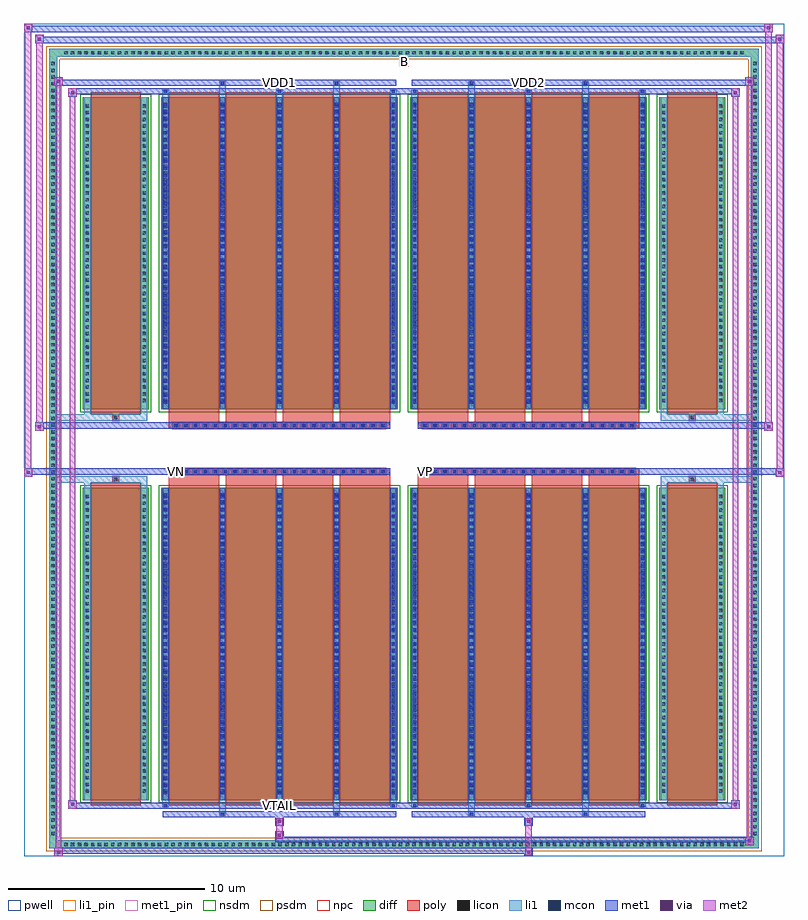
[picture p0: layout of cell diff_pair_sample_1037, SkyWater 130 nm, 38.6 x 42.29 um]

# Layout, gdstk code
import gdstk
lib = gdstk.Library(unit=1e-6, precision=5e-09)
def R(c, l, rs):  # rectangles x0, y0, x1, y1
    for r in rs: c.add(gdstk.rectangle(r[:2], r[2:], *l))
def A(c, l, x, y, w, h, nx, ny, dx, dy):  # array of equal rectangles
    R(c, l, [(x+i*dx, y+j*dy, x+i*dx+w, y+j*dy+h) for i in range(nx) for j in range(ny)])
def P(c, l, *ps):  # polygons
    for p in ps: c.add(gdstk.Polygon(p, *l))
pwell = (64, 44)
diff = (65, 20)
poly = (66, 20)
licon = (66, 44)
li1_pin = (67, 16)
li1 = (67, 20)
mcon = (67, 44)
met1_pin = (68, 16)
met1 = (68, 20)
via = (68, 44)
met2 = (69, 20)
nsdm = (93, 44)
psdm = (94, 20)
npc = (95, 20)

diff_pair_sample_1037 = lib.new_cell('diff_pair_sample_1037')
R(diff_pair_sample_1037, pwell, [(-19.3,-20.71,19.3,21.58), (-16.62,-18.9,-0.01,-0.8), (0.01,-18.9,16.62,-0.8), (-16.62,0.8,-0.01,18.9), (0.01,0.8,16.62,18.9)])
A(diff_pair_sample_1037, diff, -17.375, -20.31, 0.41, 0.41, 102, 2, 0.34, 40.21)
A(diff_pair_sample_1037, diff, -18.03, -19.755, 0.41, 0.41, 1, 116, 0, 0.34)
A(diff_pair_sample_1037, diff, 17.62, -19.755, 0.41, 0.41, 1, 116, 0, 0.34)
R(diff_pair_sample_1037, diff, [(-17.375,-20.31,17.375,-19.9), (-18.03,-19.755,-17.62,19.755), (17.62,-19.755,18.03,19.755), (-16.31,-17.855,-12.97,-1.985), (-12.33,-17.855,-0.32,-1.985), (0.32,-17.855,12.33,-1.985), (12.97,-17.855,16.31,-1.985), (-16.31,1.985,-12.97,17.855), (-12.33,1.985,-0.32,17.855), (0.32,1.985,12.33,17.855), (12.97,1.985,16.31,17.855), (-17.375,19.9,17.375,20.31)])
P(diff_pair_sample_1037, diff, [(18.03,20.31),(-18.03,20.31),(-18.03,-19.9),(-17.62,-19.9),(-17.62,19.9),(17.62,19.9),(17.62,-19.9),(-17.62,-19.9),(-18.03,-19.9),(-18.03,-20.31),(18.03,-20.31)])
A(diff_pair_sample_1037, poly, -11.94, -18.105, 2.56, 16.37, 4, 2, 2.89, 19.84)
A(diff_pair_sample_1037, poly, 0.71, -18.105, 2.56, 16.37, 4, 2, 2.89, 19.84)
A(diff_pair_sample_1037, poly, -11.94, -1.735, 2.56, 0.405, 4, 2, 2.89, 3.065)
A(diff_pair_sample_1037, poly, 0.71, -1.735, 2.56, 0.405, 4, 2, 2.89, 3.065)
A(diff_pair_sample_1037, poly, -11.74, -1.33, 0.33, 0.33, 22, 2, 0.5, 2.33)
A(diff_pair_sample_1037, poly, 0.91, -1.33, 0.33, 0.33, 22, 2, 0.5, 2.33)
R(diff_pair_sample_1037, poly, [(-15.92,-18.105,-13.36,-1.735), (13.36,-18.105,15.92,-1.735), (-14.805,-1.735,-14.475,-1.405), (-14.805,-1.735,-14.475,-1.405), (14.475,-1.735,14.805,-1.405), (14.475,-1.735,14.805,-1.405), (-11.94,-1.33,-0.71,-1), (0.71,-1.33,11.94,-1), (-11.94,1,-0.71,1.33), (0.71,1,11.94,1.33), (-14.805,1.405,-14.475,1.735), (-14.805,1.405,-14.475,1.735), (14.475,1.405,14.805,1.735), (14.475,1.405,14.805,1.735), (-15.92,1.735,-13.36,18.105), (13.36,1.735,15.92,18.105)])
A(diff_pair_sample_1037, licon, -17.255, -20.19, 0.17, 0.17, 102, 2, 0.34, 40.21)
A(diff_pair_sample_1037, licon, -17.91, -19.635, 0.17, 0.17, 1, 116, 0, 0.34)
A(diff_pair_sample_1037, licon, 17.74, -19.635, 0.17, 0.17, 1, 116, 0, 0.34)
A(diff_pair_sample_1037, licon, -16.17, -17.485, 0.17, 0.17, 1, 45, 0, 0.34)
A(diff_pair_sample_1037, licon, -13.28, -17.485, 0.17, 0.17, 1, 45, 0, 0.34)
A(diff_pair_sample_1037, licon, -12.19, -17.485, 0.17, 0.17, 5, 45, 2.89, 0.34)
A(diff_pair_sample_1037, licon, 0.46, -17.485, 0.17, 0.17, 5, 45, 2.89, 0.34)
A(diff_pair_sample_1037, licon, 13.11, -17.485, 0.17, 0.17, 1, 45, 0, 0.34)
A(diff_pair_sample_1037, licon, 16, -17.485, 0.17, 0.17, 1, 45, 0, 0.34)
A(diff_pair_sample_1037, licon, -11.66, -1.25, 0.17, 0.17, 22, 2, 0.5, 2.33)
A(diff_pair_sample_1037, licon, 0.99, -1.25, 0.17, 0.17, 22, 2, 0.5, 2.33)
A(diff_pair_sample_1037, licon, -16.17, 2.355, 0.17, 0.17, 1, 45, 0, 0.34)
A(diff_pair_sample_1037, licon, -13.28, 2.355, 0.17, 0.17, 1, 45, 0, 0.34)
A(diff_pair_sample_1037, licon, -12.19, 2.355, 0.17, 0.17, 5, 45, 2.89, 0.34)
A(diff_pair_sample_1037, licon, 0.46, 2.355, 0.17, 0.17, 5, 45, 2.89, 0.34)
A(diff_pair_sample_1037, licon, 13.11, 2.355, 0.17, 0.17, 1, 45, 0, 0.34)
A(diff_pair_sample_1037, licon, 16, 2.355, 0.17, 0.17, 1, 45, 0, 0.34)
R(diff_pair_sample_1037, licon, [(-14.725,-1.655,-14.555,-1.485), (14.555,-1.655,14.725,-1.485), (-14.725,1.485,-14.555,1.655), (14.555,1.485,14.725,1.655)])
R(diff_pair_sample_1037, li1_pin, [(-0.25,19.4,0.25,19.9)])
A(diff_pair_sample_1037, li1, -17.335, -20.27, 0.33, 0.33, 102, 2, 0.34, 40.21)
A(diff_pair_sample_1037, li1, -17.99, -19.715, 0.33, 0.33, 1, 116, 0, 0.34)
A(diff_pair_sample_1037, li1, 17.66, -19.715, 0.33, 0.33, 1, 116, 0, 0.34)
A(diff_pair_sample_1037, li1, -12.27, -18.23, 0.33, 0.375, 3, 2, 5.78, 36.085)
A(diff_pair_sample_1037, li1, -12.19, -18.23, 0.17, 0.17, 3, 2, 5.78, 36.29)
A(diff_pair_sample_1037, li1, 0.38, -18.23, 0.33, 0.375, 3, 2, 5.78, 36.085)
A(diff_pair_sample_1037, li1, 0.46, -18.23, 0.17, 0.17, 3, 2, 5.78, 36.29)
A(diff_pair_sample_1037, li1, -12.27, -17.855, 0.33, 15.87, 5, 2, 2.89, 19.84)
A(diff_pair_sample_1037, li1, 0.38, -17.855, 0.33, 15.87, 5, 2, 2.89, 19.84)
A(diff_pair_sample_1037, li1, -16.25, -17.565, 0.33, 0.33, 1, 45, 0, 0.34)
A(diff_pair_sample_1037, li1, -13.36, -17.565, 0.33, 0.33, 1, 45, 0, 0.34)
A(diff_pair_sample_1037, li1, -12.27, -17.565, 0.33, 0.33, 5, 45, 2.89, 0.34)
A(diff_pair_sample_1037, li1, -12.19, -17.565, 0.17, 0.17, 5, 43, 2.89, 0.36)
A(diff_pair_sample_1037, li1, -12.19, -17.565, 0.17, 15.29, 5, 2, 2.89, 19.84)
A(diff_pair_sample_1037, li1, 0.38, -17.565, 0.33, 0.33, 5, 45, 2.89, 0.34)
A(diff_pair_sample_1037, li1, 0.46, -17.565, 0.17, 0.17, 5, 43, 2.89, 0.36)
A(diff_pair_sample_1037, li1, 0.46, -17.565, 0.17, 15.29, 5, 2, 2.89, 19.84)
A(diff_pair_sample_1037, li1, 13.03, -17.565, 0.33, 0.33, 1, 45, 0, 0.34)
A(diff_pair_sample_1037, li1, 15.92, -17.565, 0.33, 0.33, 1, 45, 0, 0.34)
A(diff_pair_sample_1037, li1, -11.74, -1.33, 0.33, 0.33, 22, 2, 0.5, 2.33)
A(diff_pair_sample_1037, li1, 0.91, -1.33, 0.33, 0.33, 22, 2, 0.5, 2.33)
A(diff_pair_sample_1037, li1, -16.25, 2.275, 0.33, 0.33, 1, 45, 0, 0.34)
A(diff_pair_sample_1037, li1, -13.36, 2.275, 0.33, 0.33, 1, 45, 0, 0.34)
A(diff_pair_sample_1037, li1, -12.27, 2.275, 0.33, 0.33, 5, 45, 2.89, 0.34)
A(diff_pair_sample_1037, li1, -12.19, 2.275, 0.17, 0.17, 5, 43, 2.89, 0.36)
A(diff_pair_sample_1037, li1, 0.38, 2.275, 0.33, 0.33, 5, 45, 2.89, 0.34)
A(diff_pair_sample_1037, li1, 0.46, 2.275, 0.17, 0.17, 5, 43, 2.89, 0.36)
A(diff_pair_sample_1037, li1, 13.03, 2.275, 0.33, 0.33, 1, 45, 0, 0.34)
A(diff_pair_sample_1037, li1, 15.92, 2.275, 0.33, 0.33, 1, 45, 0, 0.34)
R(diff_pair_sample_1037, li1, [(-18.03,-20.31,-17.62,-19.9), (-18.03,-20.31,-17.62,-19.9), (-17.62,-20.31,17.62,-19.9), (17.62,-20.31,18.03,-19.9), (17.62,-20.31,18.03,-19.9), (-18.03,-19.9,-17.62,19.9), (17.62,-19.9,18.03,19.9), (-9.38,-18.66,-9.05,-17.855), (-9.3,-18.66,-9.13,-18.49), (-3.6,-18.66,-3.27,-17.855), (-3.52,-18.66,-3.35,-18.49), (3.27,-18.66,3.6,-17.855), (3.35,-18.66,3.52,-18.49), (9.05,-18.66,9.38,-17.855), (9.13,-18.66,9.3,-18.49), (-16.25,-17.855,-15.92,-1.985), (-13.36,-17.855,-13.03,-1.985), (13.03,-17.855,13.36,-1.985), (15.92,-17.855,16.25,-1.985), (-16.25,-1.985,-15.92,-1.405), (-13.36,-1.985,-13.03,-1.405), (13.03,-1.985,13.36,-1.405), (15.92,-1.985,16.25,-1.405), (-18.03,-1.735,-14.805,-1.405), (-16.25,-1.735,-14.805,-1.405), (-14.805,-1.735,-14.475,-1.405), (-14.475,-1.735,-13.03,-1.405), (13.03,-1.735,14.475,-1.405), (14.475,-1.735,14.805,-1.405), (14.475,-1.735,18.03,-1.405), (14.805,-1.735,16.25,-1.405), (-18.03,1.405,-14.805,1.735), (-16.25,1.405,-14.805,1.735), (-16.25,1.405,-15.92,1.985), (-14.805,1.405,-14.475,1.735), (-14.475,1.405,-13.03,1.735), (-13.36,1.405,-13.03,1.985), (13.03,1.405,14.475,1.735), (13.03,1.405,13.36,1.985), (14.475,1.405,14.805,1.735), (14.475,1.405,18.03,1.735), (14.805,1.405,16.25,1.735), (15.92,1.405,16.25,1.985), (-16.25,1.985,-15.92,17.855), (-13.36,1.985,-13.03,17.855), (13.03,1.985,13.36,17.855), (15.92,1.985,16.25,17.855), (-9.38,17.855,-9.05,18.66), (-3.6,17.855,-3.27,18.66), (3.27,17.855,3.6,18.66), (9.05,17.855,9.38,18.66), (-9.3,18.49,-9.13,18.66), (-3.52,18.49,-3.35,18.66), (3.35,18.49,3.52,18.66), (9.13,18.49,9.3,18.66), (-18.03,19.9,-17.62,20.31), (-18.03,19.9,-17.62,20.31), (-17.62,19.9,17.62,20.31), (17.62,19.9,18.03,20.31), (17.62,19.9,18.03,20.31)])
A(diff_pair_sample_1037, mcon, -12.19, -18.23, 0.17, 0.17, 3, 2, 5.78, 36.29)
A(diff_pair_sample_1037, mcon, 0.46, -18.23, 0.17, 0.17, 3, 2, 5.78, 36.29)
A(diff_pair_sample_1037, mcon, -12.19, -17.565, 0.17, 0.17, 5, 43, 2.89, 0.36)
A(diff_pair_sample_1037, mcon, 0.46, -17.565, 0.17, 0.17, 5, 43, 2.89, 0.36)
A(diff_pair_sample_1037, mcon, -11.66, -1.25, 0.17, 0.17, 22, 2, 0.5, 2.33)
A(diff_pair_sample_1037, mcon, 0.99, -1.25, 0.17, 0.17, 22, 2, 0.5, 2.33)
A(diff_pair_sample_1037, mcon, -12.19, 2.275, 0.17, 0.17, 5, 43, 2.89, 0.36)
A(diff_pair_sample_1037, mcon, 0.46, 2.275, 0.17, 0.17, 5, 43, 2.89, 0.36)
R(diff_pair_sample_1037, mcon, [(-9.3,-18.66,-9.13,-18.49), (-3.52,-18.66,-3.35,-18.49), (3.35,-18.66,3.52,-18.49), (9.13,-18.66,9.3,-18.49), (-9.3,18.49,-9.13,18.66), (-3.52,18.49,-3.35,18.66), (3.35,18.49,3.52,18.66), (9.13,18.49,9.3,18.66)])
R(diff_pair_sample_1037, met1_pin, [(-6.46,-18.27,-6.19,-18), (-11.71,-1.29,-11.44,-1.02), (0.94,-1.29,1.21,-1.02), (-6.46,18.45,-6.19,18.72), (6.19,18.45,6.46,18.72)])
A(diff_pair_sample_1037, met1, -12.25, -18.29, 0.29, 0.29, 3, 2, 5.78, 36.29)
A(diff_pair_sample_1037, met1, 0.4, -18.29, 0.29, 0.29, 3, 2, 5.78, 36.29)
A(diff_pair_sample_1037, met1, -12.25, -17.855, 0.29, 15.87, 5, 2, 2.89, 19.84)
A(diff_pair_sample_1037, met1, 0.4, -17.855, 0.29, 15.87, 5, 2, 2.89, 19.84)
A(diff_pair_sample_1037, met1, -12.25, -17.625, 0.29, 0.29, 5, 43, 2.89, 0.36)
A(diff_pair_sample_1037, met1, 0.4, -17.625, 0.29, 0.29, 5, 43, 2.89, 0.36)
A(diff_pair_sample_1037, met1, -11.72, -1.31, 0.29, 0.29, 22, 2, 0.5, 2.33)
A(diff_pair_sample_1037, met1, 0.93, -1.31, 0.29, 0.29, 22, 2, 0.5, 2.33)
A(diff_pair_sample_1037, met1, -12.25, 2.215, 0.29, 0.29, 5, 43, 2.89, 0.36)
A(diff_pair_sample_1037, met1, 0.4, 2.215, 0.29, 0.29, 5, 43, 2.89, 0.36)
R(diff_pair_sample_1037, met1, [(-17.76,-20.71,-17.33,-20.28), (6.11,-20.71,6.54,-20.28), (-17.76,-20.57,6.54,-20.28), (17.33,-20.14,17.76,-19.71), (-6.54,-20,17.76,-19.71), (-6.54,-19.86,-6.11,-19.43), (-6.54,-19.15,-6.11,-18.72), (6.11,-19.15,6.54,-18.72), (-12.25,-18.72,-0.4,-18.43), (-9.36,-18.72,-9.07,-18.43), (-3.58,-18.72,-3.29,-18.43), (0.4,-18.72,12.25,-18.43), (3.29,-18.72,3.58,-18.43), (9.07,-18.72,9.36,-18.43), (-17.05,-18.29,-16.62,-17.86), (-17.05,-18.29,-12.25,-18), (-12.25,-18.29,-0.4,-18), (-0.4,-18.29,0.4,-18), (0.4,-18.29,12.25,-18), (12.25,-18.29,17.05,-18), (16.62,-18.29,17.05,-17.86), (-19.3,-1.43,-18.87,-1), (18.87,-1.43,19.3,-1), (-19.3,-1.33,-0.71,-1), (-11.94,-1.33,-0.71,-1), (0.71,-1.33,11.94,-1), (0.71,-1.33,19.3,-1), (-18.73,0.9,-18.3,1.33), (18.3,0.9,18.73,1.33), (-18.73,1,-11.94,1.33), (-11.94,1,-0.71,1.33), (0.71,1,11.94,1.33), (11.94,1,18.73,1.33), (-17.05,17.86,-16.62,18.29), (16.62,17.86,17.05,18.29), (-17.05,18,-12.25,18.29), (-12.25,18,-0.4,18.29), (-0.4,18,0.4,18.29), (0.4,18,12.25,18.29), (12.25,18,17.05,18.29), (-17.76,18.43,-17.33,18.86), (-17.76,18.43,-12.25,18.72), (-12.25,18.43,-0.4,18.72), (-9.36,18.43,-9.07,18.72), (-3.58,18.43,-3.29,18.72), (0.4,18.43,12.25,18.72), (3.29,18.43,3.58,18.72), (9.07,18.43,9.36,18.72), (12.25,18.43,17.76,18.72), (17.33,18.43,17.76,18.86), (-18.73,20.58,-18.3,21.01), (-18.73,20.58,-16.62,20.91), (-16.62,20.58,16.62,20.91), (16.62,20.58,19.3,20.91), (18.87,20.58,19.3,21.01), (-19.3,21.15,-18.87,21.58), (-19.3,21.15,-16.62,21.48), (-16.62,21.15,16.62,21.48), (16.62,21.15,18.73,21.48), (18.3,21.15,18.73,21.58)])
R(diff_pair_sample_1037, via, [(-17.62,-20.57,-17.47,-20.42), (6.25,-20.57,6.4,-20.42), (17.47,-20,17.62,-19.85), (-6.4,-19.72,-6.25,-19.57), (-6.4,-19.01,-6.25,-18.86), (6.25,-19.01,6.4,-18.86), (-16.91,-18.15,-16.76,-18), (16.76,-18.15,16.91,-18), (-19.16,-1.29,-19.01,-1.14), (19.01,-1.29,19.16,-1.14), (-18.59,1.04,-18.44,1.19), (18.44,1.04,18.59,1.19), (-16.91,18,-16.76,18.15), (16.76,18,16.91,18.15), (-17.62,18.57,-17.47,18.72), (17.47,18.57,17.62,18.72), (-18.59,20.72,-18.44,20.87), (19.01,20.72,19.16,20.87), (-19.16,21.29,-19.01,21.44), (18.44,21.29,18.59,21.44)])
R(diff_pair_sample_1037, met2, [(-17.76,-20.71,-17.33,-20.28), (-17.69,-20.71,-17.4,18.86), (-17.4,-20.71,-17.33,-20.28), (-17.71,-20.66,-17.38,-20.33), (6.16,-20.66,6.49,-20.33), (6.16,-20.33,6.49,-19.1), (17.33,-20.14,17.76,-19.71), (17.4,-20.14,17.69,18.86), (17.69,-20.14,17.76,-19.71), (17.38,-20.09,17.71,-19.76), (-6.49,-19.81,-6.16,-19.48), (-6.49,-19.48,-6.16,-19.1), (-6.49,-19.1,-6.16,-18.77), (6.16,-19.1,6.49,-18.77), (-17.05,-18.29,-16.62,-17.86), (-16.98,-18.29,-16.69,18.29), (-16.69,-18.29,-16.62,-17.86), (16.62,-18.29,17.05,-17.86), (16.69,-18.29,16.98,18.29), (16.98,-18.29,17.05,-17.86), (-17,-18.24,-16.67,-17.91), (16.67,-18.24,17,-17.91), (-19.3,-1.43,-18.87,-1), (-19.25,-1.43,-18.92,21.58), (-18.92,-1.43,-18.87,-1), (18.87,-1.43,19.3,-1), (18.92,-1.43,19.25,21.01), (19.25,-1.43,19.3,-1), (-19.25,-1.38,-18.92,-1.05), (18.92,-1.38,19.25,-1.05), (-18.73,0.9,-18.3,1.33), (-18.68,0.9,-18.35,21.01), (-18.35,0.9,-18.3,1.33), (18.3,0.9,18.73,1.33), (18.35,0.9,18.68,21.58), (18.68,0.9,18.73,1.33), (-18.68,0.95,-18.35,1.28), (18.35,0.95,18.68,1.28), (-17.05,17.86,-16.62,18.29), (-16.69,17.86,-16.62,18.29), (16.62,17.86,17.05,18.29), (16.98,17.86,17.05,18.29), (-17,17.91,-16.67,18.24), (16.67,17.91,17,18.24), (-17.76,18.43,-17.33,18.86), (-17.4,18.43,-17.33,18.86), (17.33,18.43,17.76,18.86), (17.69,18.43,17.76,18.86), (-17.71,18.48,-17.38,18.81), (17.38,18.48,17.71,18.81), (-18.73,20.58,-18.3,21.01), (-18.35,20.58,-18.3,21.01), (18.87,20.58,19.3,21.01), (19.25,20.58,19.3,21.01), (-18.68,20.63,-18.35,20.96), (18.92,20.63,19.25,20.96), (-19.3,21.15,-18.87,21.58), (-18.92,21.15,-18.87,21.58), (18.3,21.15,18.73,21.58), (18.68,21.15,18.73,21.58), (-19.25,21.2,-18.92,21.53), (18.35,21.2,18.68,21.53)])
R(diff_pair_sample_1037, nsdm, [(-16.44,-17.985,-12.84,-1.855), (-12.46,-17.985,-0.19,-1.855), (0.19,-17.985,12.46,-1.855), (12.84,-17.985,16.44,-1.855), (-16.44,1.855,-12.84,17.985), (-12.46,1.855,-0.19,17.985), (0.19,1.855,12.46,17.985), (12.84,1.855,16.44,17.985)])
P(diff_pair_sample_1037, psdm, [(18.16,20.44),(-18.16,20.44),(-18.16,-19.77),(-17.49,-19.77),(-17.49,19.77),(17.49,19.77),(17.49,-19.77),(-17.49,-19.77),(-18.16,-19.77),(-18.16,-20.44),(18.16,-20.44)])
A(diff_pair_sample_1037, npc, -11.76, -1.35, 0.37, 0.37, 22, 2, 0.5, 2.33)
A(diff_pair_sample_1037, npc, 0.89, -1.35, 0.37, 0.37, 22, 2, 0.5, 2.33)
R(diff_pair_sample_1037, npc, [(-14.825,-1.755,-14.455,-1.385), (14.455,-1.755,14.825,-1.385), (-11.76,-1.35,-10.89,-0.98), (-11.76,-1.35,-10.89,-0.98), (-11.26,-1.35,-10.39,-0.98), (-11.26,-1.35,-10.39,-0.98), (-10.76,-1.35,-9.89,-0.98), (-10.76,-1.35,-9.89,-0.98), (-10.26,-1.35,-9.39,-0.98), (-10.26,-1.35,-9.39,-0.98), (-9.76,-1.35,-8.89,-0.98), (-9.76,-1.35,-8.89,-0.98), (-9.26,-1.35,-8.39,-0.98), (-9.26,-1.35,-8.39,-0.98), (-8.76,-1.35,-7.89,-0.98), (-8.76,-1.35,-7.89,-0.98), (-8.26,-1.35,-7.39,-0.98), (-8.26,-1.35,-7.39,-0.98), (-7.76,-1.35,-6.89,-0.98), (-7.76,-1.35,-6.89,-0.98), (-7.26,-1.35,-6.39,-0.98), (-7.26,-1.35,-6.39,-0.98), (-6.76,-1.35,-5.89,-0.98), (-6.76,-1.35,-5.89,-0.98), (-6.26,-1.35,-5.39,-0.98), (-6.26,-1.35,-5.39,-0.98), (-5.76,-1.35,-4.89,-0.98), (-5.76,-1.35,-4.89,-0.98), (-5.26,-1.35,-4.39,-0.98), (-5.26,-1.35,-4.39,-0.98), (-4.76,-1.35,-3.89,-0.98), (-4.76,-1.35,-3.89,-0.98), (-4.26,-1.35,-3.39,-0.98), (-4.26,-1.35,-3.39,-0.98), (-3.76,-1.35,-2.89,-0.98), (-3.76,-1.35,-2.89,-0.98), (-3.26,-1.35,-2.39,-0.98), (-3.26,-1.35,-2.39,-0.98), (-2.76,-1.35,-1.89,-0.98), (-2.76,-1.35,-1.89,-0.98), (-2.26,-1.35,-1.39,-0.98), (-2.26,-1.35,-1.39,-0.98), (-1.76,-1.35,-0.89,-0.98), (-1.76,-1.35,-0.89,-0.98), (0.89,-1.35,1.76,-0.98), (0.89,-1.35,1.76,-0.98), (1.39,-1.35,2.26,-0.98), (1.39,-1.35,2.26,-0.98), (1.89,-1.35,2.76,-0.98), (1.89,-1.35,2.76,-0.98), (2.39,-1.35,3.26,-0.98), (2.39,-1.35,3.26,-0.98), (2.89,-1.35,3.76,-0.98), (2.89,-1.35,3.76,-0.98), (3.39,-1.35,4.26,-0.98), (3.39,-1.35,4.26,-0.98), (3.89,-1.35,4.76,-0.98), (3.89,-1.35,4.76,-0.98), (4.39,-1.35,5.26,-0.98), (4.39,-1.35,5.26,-0.98), (4.89,-1.35,5.76,-0.98), (4.89,-1.35,5.76,-0.98), (5.39,-1.35,6.26,-0.98), (5.39,-1.35,6.26,-0.98), (5.89,-1.35,6.76,-0.98), (5.89,-1.35,6.76,-0.98), (6.39,-1.35,7.26,-0.98), (6.39,-1.35,7.26,-0.98), (6.89,-1.35,7.76,-0.98), (6.89,-1.35,7.76,-0.98), (7.39,-1.35,8.26,-0.98), (7.39,-1.35,8.26,-0.98), (7.89,-1.35,8.76,-0.98), (7.89,-1.35,8.76,-0.98), (8.39,-1.35,9.26,-0.98), (8.39,-1.35,9.26,-0.98), (8.89,-1.35,9.76,-0.98), (8.89,-1.35,9.76,-0.98), (9.39,-1.35,10.26,-0.98), (9.39,-1.35,10.26,-0.98), (9.89,-1.35,10.76,-0.98), (9.89,-1.35,10.76,-0.98), (10.39,-1.35,11.26,-0.98), (10.39,-1.35,11.26,-0.98), (10.89,-1.35,11.76,-0.98), (10.89,-1.35,11.76,-0.98), (-11.76,0.98,-10.89,1.35), (-11.76,0.98,-10.89,1.35), (-11.26,0.98,-10.39,1.35), (-11.26,0.98,-10.39,1.35), (-10.76,0.98,-9.89,1.35), (-10.76,0.98,-9.89,1.35), (-10.26,0.98,-9.39,1.35), (-10.26,0.98,-9.39,1.35), (-9.76,0.98,-8.89,1.35), (-9.76,0.98,-8.89,1.35), (-9.26,0.98,-8.39,1.35), (-9.26,0.98,-8.39,1.35), (-8.76,0.98,-7.89,1.35), (-8.76,0.98,-7.89,1.35), (-8.26,0.98,-7.39,1.35), (-8.26,0.98,-7.39,1.35), (-7.76,0.98,-6.89,1.35), (-7.76,0.98,-6.89,1.35), (-7.26,0.98,-6.39,1.35), (-7.26,0.98,-6.39,1.35), (-6.76,0.98,-5.89,1.35), (-6.76,0.98,-5.89,1.35), (-6.26,0.98,-5.39,1.35), (-6.26,0.98,-5.39,1.35), (-5.76,0.98,-4.89,1.35), (-5.76,0.98,-4.89,1.35), (-5.26,0.98,-4.39,1.35), (-5.26,0.98,-4.39,1.35), (-4.76,0.98,-3.89,1.35), (-4.76,0.98,-3.89,1.35), (-4.26,0.98,-3.39,1.35), (-4.26,0.98,-3.39,1.35), (-3.76,0.98,-2.89,1.35), (-3.76,0.98,-2.89,1.35), (-3.26,0.98,-2.39,1.35), (-3.26,0.98,-2.39,1.35), (-2.76,0.98,-1.89,1.35), (-2.76,0.98,-1.89,1.35), (-2.26,0.98,-1.39,1.35), (-2.26,0.98,-1.39,1.35), (-1.76,0.98,-0.89,1.35), (-1.76,0.98,-0.89,1.35), (0.89,0.98,1.76,1.35), (0.89,0.98,1.76,1.35), (1.39,0.98,2.26,1.35), (1.39,0.98,2.26,1.35), (1.89,0.98,2.76,1.35), (1.89,0.98,2.76,1.35), (2.39,0.98,3.26,1.35), (2.39,0.98,3.26,1.35), (2.89,0.98,3.76,1.35), (2.89,0.98,3.76,1.35), (3.39,0.98,4.26,1.35), (3.39,0.98,4.26,1.35), (3.89,0.98,4.76,1.35), (3.89,0.98,4.76,1.35), (4.39,0.98,5.26,1.35), (4.39,0.98,5.26,1.35), (4.89,0.98,5.76,1.35), (4.89,0.98,5.76,1.35), (5.39,0.98,6.26,1.35), (5.39,0.98,6.26,1.35), (5.89,0.98,6.76,1.35), (5.89,0.98,6.76,1.35), (6.39,0.98,7.26,1.35), (6.39,0.98,7.26,1.35), (6.89,0.98,7.76,1.35), (6.89,0.98,7.76,1.35), (7.39,0.98,8.26,1.35), (7.39,0.98,8.26,1.35), (7.89,0.98,8.76,1.35), (7.89,0.98,8.76,1.35), (8.39,0.98,9.26,1.35), (8.39,0.98,9.26,1.35), (8.89,0.98,9.76,1.35), (8.89,0.98,9.76,1.35), (9.39,0.98,10.26,1.35), (9.39,0.98,10.26,1.35), (9.89,0.98,10.76,1.35), (9.89,0.98,10.76,1.35), (10.39,0.98,11.26,1.35), (10.39,0.98,11.26,1.35), (10.89,0.98,11.76,1.35), (10.89,0.98,11.76,1.35), (-14.825,1.385,-14.455,1.755), (14.455,1.385,14.825,1.755)])
diff_pair_sample_1037.add(gdstk.Label('VTAIL', (-6.325,-18.135), layer=68, texttype=5))
diff_pair_sample_1037.add(gdstk.Label('VN', (-11.575,-1.155), layer=68, texttype=5))
diff_pair_sample_1037.add(gdstk.Label('VP', (1.075,-1.155), layer=68, texttype=5))
diff_pair_sample_1037.add(gdstk.Label('B', (0,19.65), layer=67, texttype=5))
diff_pair_sample_1037.add(gdstk.Label('VDD2', (6.325,18.585), layer=68, texttype=5))
diff_pair_sample_1037.add(gdstk.Label('VDD1', (-6.325,18.585), layer=68, texttype=5))

lib.write_gds('diff_pair_sample_1037.gds')
